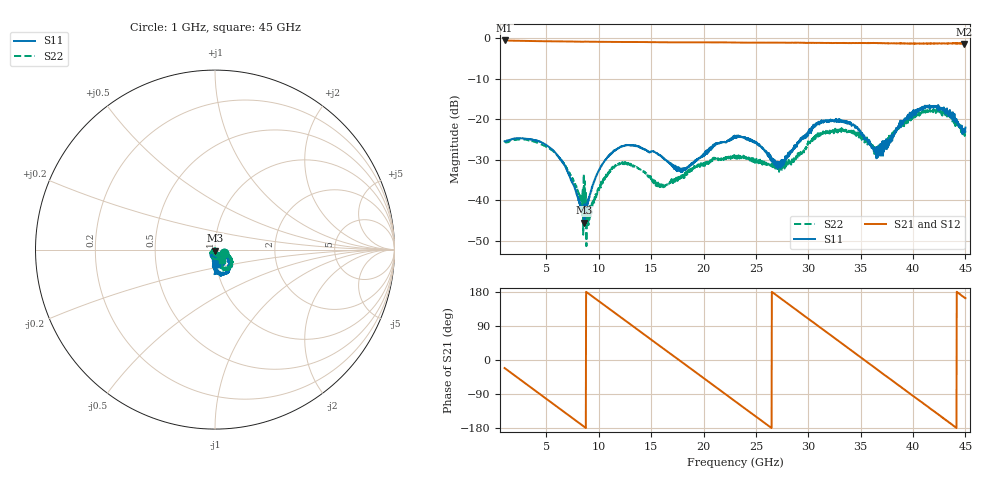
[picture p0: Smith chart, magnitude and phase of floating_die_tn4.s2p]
!Keysight Technologies,N5247B,MY61255062,A.19.80.06
!Date: Thursday, May 21, 2026 11:47:31
!Correction: S11(Cdelta 2-Port  )
!S21(Cdelta 2-Port  )
!S12(Cdelta 2-Port  )
!S22(Cdelta 2-Port  )
!S2P File: Measurements: S11, S21, S12, S22:
# Hz S  dB  R 50
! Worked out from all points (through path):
!   1601 points, 1 GHz to 45 GHz, reference 50 ohm
!   highest |S21| = -0.49 dB at 1 GHz (marker M1); lowest = -1.4 dB at 44.89 GHz (marker M2)
!   group delay of S21, straight-line fit = 56.5 ps
!   lowest |S11| = -45.5 dB at 8.617 GHz (marker M3), VSWR 1.01, Z = 49.9 - j0.527 ohm
!   |S11| at or under -10 dB: start of sweep to end of sweep
!   |S22| runs from -51.3 to -17.3 dB; largest |S21 - S12| = 0.013
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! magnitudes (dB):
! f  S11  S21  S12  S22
! 1 GHz  -25.4  -0.5  -0.5  -25.5
! 5.455 GHz  -27.3  -0.7  -0.7  -27.5
! 6.775 GHz  -31.5  -0.7  -0.7  -31.2
! 8.342 GHz  -41.7  -0.8  -0.8  -39.7
! 8.617 GHz  -45.5  -0.8  -0.8  -41.1
! 9.03 GHz  -39.7  -0.8  -0.8  -42.3
! 10.1 GHz  -32.2  -0.8  -0.8  -36.8
! 11.56 GHz  -27.7  -0.9  -0.9  -31.4
! 13.38 GHz  -26.5  -0.9  -0.9  -31.6
! 15.69 GHz  -28.6  -0.9  -0.9  -36.3
! 18.02 GHz  -32.1  -1.0  -1.0  -33.7
! 23 GHz  -24.2  -1.0  -1.0  -28.8
! 25.04 GHz  -25.9  -1.0  -1.0  -29.7
! 27.15 GHz  -30.6  -1.0  -1.1  -31.3
! 30.34 GHz  -22.8  -1.1  -1.1  -24.8
! 33.04 GHz  -20.5  -1.1  -1.1  -22.9
! 36.48 GHz  -26.9  -1.1  -1.1  -28.9
! 37.69 GHz  -25.7  -1.2  -1.2  -24.6
! 41.2 GHz  -17.1  -1.3  -1.3  -17.6
! 43.32 GHz  -18.2  -1.2  -1.2  -19.0
! 44.89 GHz  -22.8  -1.4  -1.4  -23.8
! 45 GHz  -22.0  -1.3  -1.3  -23.2
